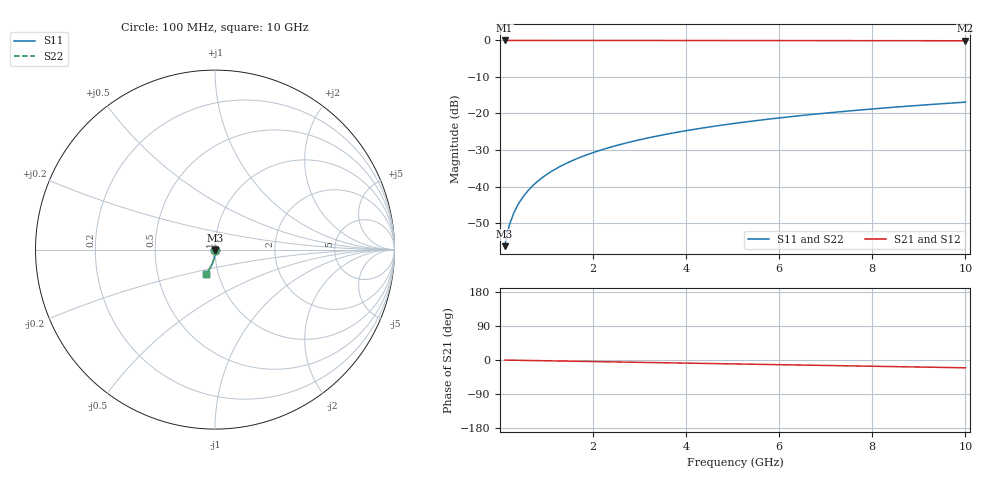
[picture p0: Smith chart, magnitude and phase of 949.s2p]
# Hz S RI R 50.00
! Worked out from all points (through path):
!   100 points, 100 MHz to 10 GHz, reference 50 ohm
!   highest |S21| = 0.00 dB at 100 MHz (marker M1); lowest = -0.1 dB at 10 GHz (marker M2)
!   group delay of S21, straight-line fit = 5.72 ps
!   lowest |S11| = -56.3 dB at 100 MHz (marker M3), VSWR 1.00, Z = 50 - j0.146 ohm
!   |S11| at or under -10 dB: start of sweep to end of sweep
!   |S22| runs from -56.3 to -16.9 dB; largest |S21 - S12| = 0
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1e8  0.000456 -0.00146  0.9995 -0.00359  0.9995 -0.00359  0.000456 -0.00146
2e8  0.000441 -0.00291  0.9995 -0.00717  0.9995 -0.00717  0.000441 -0.00291
3e8  0.000415 -0.00437  0.9995 -0.0108  0.9995 -0.0108  0.000415 -0.00437
4e8  0.000378 -0.00583  0.9994 -0.0143  0.9994 -0.0143  0.000378 -0.00583
5e8  0.00033 -0.00728  0.9993 -0.0179  0.9993 -0.0179  0.00033 -0.00728
6e8  0.000272 -0.00874  0.9992 -0.0215  0.9992 -0.0215  0.000272 -0.00874
7e8  0.000203 -0.0102  0.9991 -0.0251  0.9991 -0.0251  0.000203 -0.0102
8e8  0.000123 -0.0117  0.999 -0.0287  0.999 -0.0287  0.000123 -0.0117
9e8  3.33e-05 -0.0131  0.9989 -0.0323  0.9989 -0.0323  3.33e-05 -0.0131
1.1e9  -0.000178 -0.016  0.9986 -0.0394  0.9986 -0.0394  -0.000178 -0.016
1.4e9  -0.000575 -0.0204  0.998 -0.0502  0.998 -0.0502  -0.000575 -0.0204
1.8e9  -0.00125 -0.0262  0.997 -0.0645  0.997 -0.0645  -0.00125 -0.0262
2.1e9  -0.00187 -0.0305  0.9962 -0.0752  0.9962 -0.0752  -0.00187 -0.0305
2.5e9  -0.00283 -0.0363  0.9948 -0.0895  0.9948 -0.0895  -0.00283 -0.0363
2.9e9  -0.00396 -0.042  0.9931 -0.1038  0.9931 -0.1038  -0.00396 -0.042
3.4e9  -0.00561 -0.0491  0.9908 -0.1216  0.9908 -0.1216  -0.00561 -0.0491
4.2e9  -0.00878 -0.0604  0.9862 -0.1499  0.9862 -0.1499  -0.00878 -0.0604
5.1e9  -0.0131 -0.0729  0.9799 -0.1816  0.9799 -0.1816  -0.0131 -0.0729
5.9e9  -0.0176 -0.0837  0.9734 -0.2096  0.9734 -0.2096  -0.0176 -0.0837
6.7e9  -0.0228 -0.0942  0.9659 -0.2373  0.9659 -0.2373  -0.0228 -0.0942
8.4e9  -0.0356 -0.1155  0.947 -0.295  0.947 -0.295  -0.0356 -0.1155
1e10  -0.05 -0.1339  0.9257 -0.3479  0.9257 -0.3479  -0.05 -0.1339
